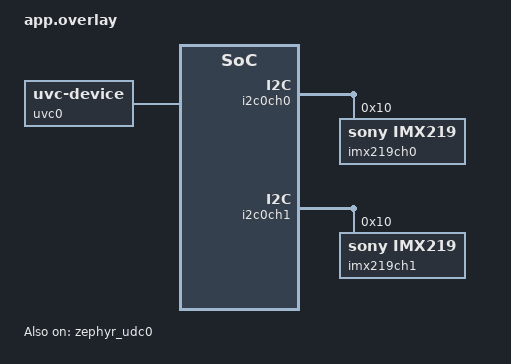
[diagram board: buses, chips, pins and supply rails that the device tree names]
/*
 * Copyright (c) 2025 tinyVision.ai Inc.
 *
 * SPDX-License-Identifier: Apache-2.0
 */

#include <riscv/tinyvision/from_csi0_to_stats0.dtsi>
#include <riscv/tinyvision/from_csi0_to_stacker.dtsi>

#include <riscv/tinyvision/from_csi1_to_stats1.dtsi>
#include <riscv/tinyvision/from_csi1_to_stacker.dtsi>

#include <riscv/tinyvision/from_stacker_to_debayer0.dtsi>
#include <riscv/tinyvision/from_debayer0_to_uvcmanager0.dtsi>

&stacker {
	start-delay-us = <30>;
};

/* USB interfaces */

&zephyr_udc0 {
	num-in-endpoints = <2>;
	num-out-endpoints = <1>;
	status = "okay";

	uvc0: uvc0 {
		compatible = "zephyr,uvc-device";
		interface-name = "tinyCLUNX33-IMX219";
	};
};

&uvcmanager0 {
	usb-endpoint = <0x81>;
};

/* Camera 0 config */

/ {
	imx219ch0_input_clock: imx219ch0-input-clock {
		compatible = "fixed-clock";
		clock-frequency = <24000000>;
		#clock-cells = <0>;
	};
};

&csi0_ep_in {
	remote-endpoint-label = "imx219ch0_ep_out";
};

&i2c0ch0 {
	imx219ch0: imx219@10 {
		compatible = "sony,imx219";
		reg = <0x10>;
		clocks = <&imx219ch0_input_clock>;

		port {
			imx219ch0_ep_out: endpoint {
				remote-endpoint-label = "csi0_ep_in";
			};
		};
	};
};

/* Camera 1 config */

/ {
	imx219ch1_input_clock: imx219ch1-input-clock {
		compatible = "fixed-clock";
		clock-frequency = <24000000>;
		#clock-cells = <0>;
	};
};

&csi1_ep_in {
	remote-endpoint-label = "imx219ch1_ep_out";
};

&i2c0ch1 {
	imx219ch1: imx219@10 {
		compatible = "sony,imx219";
		reg = <0x10>;
		clocks = <&imx219ch1_input_clock>;

		port {
			imx219ch1_ep_out: endpoint {
				remote-endpoint-label = "csi1_ep_in";
			};
		};
	};
};
